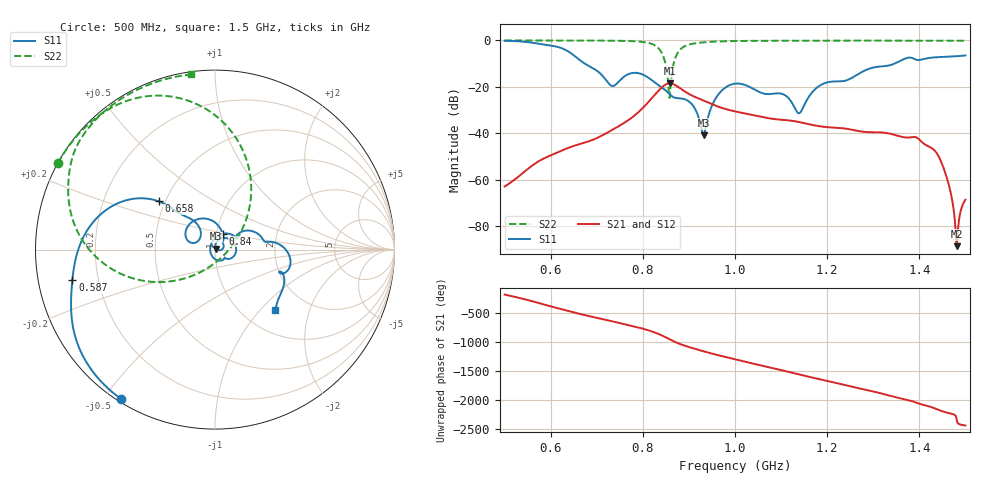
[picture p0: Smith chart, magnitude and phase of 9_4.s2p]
! TOUCHSTONE file generated by CST MICROWAVE STUDIO
! Date and time: Wed Oct 28 19:14:54 2020
! Project name: Scenario_1_Circular_Tissue_out_of_Line.cst
! Parameters = {dy1=-207.272; L_HA=400; MT=2.54; Rad_Dielectric=30; Rad_Lower=7.3; Rad_Upper=30; a_HA=580; a_WG=246; b_HA=500; b_WG=121; c_HA=0; c_WG=187; d_feed=85; dx1=693; h_feed=15; h_lower=18; h_upper=40}
! Header version: 2018
! Port assignment regex: !\s*Touchstone port\s*([0-9]+)\s*=\s*(CST MWS port|CST DS port)\s*([0-9]+|Zmin|Zmax)\s*\(\"(.*)\"\)(\s*mode\s*([0-9]+))?.*
! Touchstone port assignment:
! Touchstone port 1 = CST MWS port 1 ("")
! Touchstone port 2 = CST MWS port 2 ("")
# GHz S DB R 50
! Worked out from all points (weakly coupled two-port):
!   1001 points, 500 MHz to 1.5 GHz, reference 50 ohm
!   highest |S21| = -18.51 dB at 858 MHz (marker M1); lowest = -88.7 dB at 1.481 GHz (marker M2)
!   lowest |S11| = -40.8 dB at 932 MHz (marker M3), VSWR 1.02, Z = 50.7 + j0.576 ohm
!   |S11| at or under -10 dB: 674.1 MHz to 1.346 GHz (671.9 MHz wide, 66.5 % of centre)
!   |S22| runs from -24.8 to 0.0 dB; largest |S21 - S12| = 2.7e-05
!   S11 on the Smith chart (normalised r, x): 500 MHz: 0.01, -0.55; 587 MHz: 0.10, -0.10; 658 MHz: 0.46, +0.30; 840 MHz: 1.07, +0.19; 1.5 GHz: 1.39, -1.21
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0.5  -0.15 -122.3  -62.96 -174.4  -62.96 -174.4  -0.01 151.1
0.587  -1.80 -167.9  -50.70 8.8  -50.70 8.8  -0.02 145.1
0.658  -7.66 139.5  -44.97 -140.6  -44.97 -140.6  -0.04 139.2
0.667  -9.05 136.9  -44.45 -158.3  -44.45 -158.3  -0.04 138.4
0.733  -19.62 144.1  -38.62 82.3  -38.62 82.3  -0.11 130.4
0.783  -13.96 133.3  -32.19 -12.1  -32.19 -12.1  -0.37 119.3
0.834  -19.29 69.9  -21.66 -137.7  -21.66 -137.7  -3.37 83.4
0.84  -20.13 64.4  -20.45 -158.5  -20.45 -158.5  -4.98 73.4
0.858  -23.11 48.0  -18.51 129.9  -18.51 129.9  -24.82 -55.3
0.879  -24.93 40.6  -20.37 52.5  -20.37 52.5  -4.40 -170.9
0.909  -28.16 0.9  -23.97 -26.6  -23.97 -26.6  -1.37 162.3
0.932  -40.82 38.6  -25.94 -79.9  -25.94 -79.9  -0.82 153.5
0.96  -24.36 67.8  -28.27 -139.8  -28.27 -139.8  -0.47 146.9
1  -18.63 7.3  -30.59 142.6  -30.59 142.6  -0.26 140.2
1.105  -23.24 -63.0  -34.24 -54.4  -34.24 -54.5  -0.12 129.2
1.138  -31.38 -172.6  -35.14 -119.1  -35.14 -119.1  -0.11 126.5
1.167  -22.46 80.4  -36.40 -173.4  -36.40 -173.4  -0.09 124.2
1.334  -10.79 8.6  -40.08 -125.2  -40.08 -125.2  -0.09 111.5
1.436  -7.26 -28.5  -48.09 2.8  -48.12 2.7  -0.11 103.4
1.461  -7.05 -35.9  -60.08 -65.3  -60.15 -64.8  -0.12 101.3
1.481  -6.82 -40.6  -88.68 -179.2  -89.40 -179.7  -0.12 99.5
1.5  -6.47 -45.1  -68.66 74.2  -68.66 74.4  -0.13 97.9
